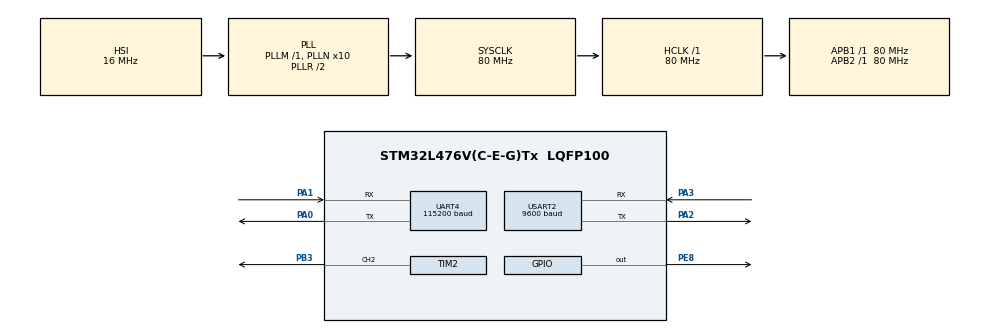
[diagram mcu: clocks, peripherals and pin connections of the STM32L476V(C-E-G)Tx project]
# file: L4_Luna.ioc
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Dma.Request0=TIM2_CH2/CH4
Dma.TIM2_CH2/CH4.0.Direction=DMA_MEMORY_TO_PERIPH
Dma.TIM2_CH2/CH4.0.Instance=DMA1_Channel7
Dma.TIM2_CH2/CH4.0.MemDataAlignment=DMA_MDATAALIGN_WORD
Dma.TIM2_CH2/CH4.0.MemInc=DMA_MINC_ENABLE
Dma.TIM2_CH2/CH4.0.Mode=DMA_NORMAL
Dma.TIM2_CH2/CH4.0.PeriphDataAlignment=DMA_PDATAALIGN_WORD
Dma.TIM2_CH2/CH4.0.PeriphInc=DMA_PINC_DISABLE
Dma.TIM2_CH2/CH4.0.Priority=DMA_PRIORITY_LOW
Mcu.Family=STM32L4
Mcu.Name=STM32L476V(C-E-G)Tx
Mcu.Package=LQFP100
NVIC.DMA1_Channel7_IRQn=true\:0\:0\:false\:false\:true\:false\:true
NVIC.PriorityGroup=NVIC_PRIORITYGROUP_4
NVIC.USART2_IRQn=true\:0\:0\:false\:false\:true\:true\:true
PA0.Mode=Asynchronous
PA0.Signal=UART4_TX
PA1.Mode=Asynchronous
PA1.Signal=UART4_RX
PA2.Mode=Asynchronous
PA2.Signal=USART2_TX
PA3.Mode=Asynchronous
PA3.Signal=USART2_RX
PB3\ (JTDO-TRACESWO).GPIO_Speed=GPIO_SPEED_FREQ_HIGH
PB3\ (JTDO-TRACESWO).Signal=S_TIM2_CH2
PE8.GPIO_Speed=GPIO_SPEED_FREQ_VERY_HIGH
PE8.Signal=GPIO_Output
ProjectManager.HeapSize=0x200
ProjectManager.StackSize=0x400
ProjectManager.TargetToolchain=MDK-ARM V5.27
RCC.ADCFreq_Value=64000000
RCC.AHBFreq_Value=80000000
RCC.APB1Freq_Value=80000000
RCC.APB1TimFreq_Value=80000000
RCC.APB2Freq_Value=80000000
RCC.APB2TimFreq_Value=80000000
RCC.CortexFreq_Value=80000000
RCC.HCLKFreq_Value=80000000
RCC.HSE_VALUE=8000000
RCC.HSI_VALUE=16000000
RCC.LSE_VALUE=32768
RCC.MSIClockRange=RCC_MSIRANGE_8
RCC.MSI_VALUE=16000000
RCC.PLLN=10
RCC.PLLSourceVirtual=RCC_PLLSOURCE_HSI
RCC.SYSCLKFreq_VALUE=80000000
RCC.SYSCLKSource=RCC_SYSCLKSOURCE_PLLCLK
RCC.USBFreq_Value=64000000
RCC.VCOOutputFreq_Value=160000000
SH.S_TIM2_CH2.0=TIM2_CH2,PWM Generation2 CH2
TIM2.AutoReloadPreload=TIM_AUTORELOAD_PRELOAD_ENABLE
TIM2.Channel-PWM\ Generation2\ CH2=TIM_CHANNEL_2
TIM2.Period=99
TIM2.Pulse-PWM\ Generation2\ CH2=2
UART4.BaudRate=115200
USART2.BaudRate=9600
USART2.VirtualMode-Asynchronous=VM_ASYNC
VP_TIM2_VS_ClockSourceINT.Mode=Internal
board=custom

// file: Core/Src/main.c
/* USER CODE BEGIN Header */
/**
  ******************************************************************************
  * @file           : main.c
  * @brief          : Main program body
  ******************************************************************************
  * @attention
  *
  * <h2><center>&copy; Copyright (c) 2021 STMicroelectronics.
  * All rights reserved.</center></h2>
  *
  * This software component is licensed by ST under BSD 3-Clause license,
  * the "License"; You may not use this file except in compliance with the
  * License. You may obtain a copy of the License at:
  *                        opensource.org/licenses/BSD-3-Clause
  *
  ******************************************************************************
  */
/* USER CODE END Header */
#include "main.h"
#include "dma.h"
#include "tim.h"
#include "usart.h"
#include "gpio.h"

/* USER CODE BEGIN Includes */
#include <string.h>
#include <mine.h>
#include "sk6812.h"
/* USER CODE END Includes */

/* USER CODE BEGIN PV */
extern uint32_t BUF_DMA [ARRAY_LEN];
/* USER CODE END PV */

void SystemClock_Config(void);

/* USER CODE BEGIN 0 */
#define TEST_8

uint8_t rate[] = {0x5a, 0x06, 0x03, 0x32, 0x00, 0x00};

int leds(int i, int number){
  if ((i+number)<0){
    return 0;
  }
  else if((i+number)>299){
    return 299;
  }
  return i+number;
}
/* USER CODE END 0 */

int main(void)
{

  /* MCU Configuration--------------------------------------------------------*/

  /* Reset of all peripherals, Initializes the Flash interface and the Systick. */
  HAL_Init();

  /* Configure the system clock */
  SystemClock_Config();

  /* Initialize all configured peripherals */
  MX_GPIO_Init();
  MX_DMA_Init();
  MX_UART4_Init();
  MX_USART2_UART_Init();
  MX_TIM2_Init();
  /* USER CODE BEGIN 2 */

//	HAL_TIM_PWM_Start(&htim2, TIM_CHANNEL_1);

#ifdef TEST_1
	uint8_t data[9];
	newos();
	HAL_UART_Receive_IT(&huart2, data, 9);

#endif

#ifdef TEST_3

	//HAL_UART_Transmit(&huart2, rate, 6, 1000);

	HAL_UART_Transmit(&huart4, "Hi\r\n", 4, 1000);

	uint8_t data[9];
	newos();
	HAL_UART_Receive_IT(&huart2, data, 9);

#endif

#ifdef TEST_5
	uint8_t data[9];
	newos();
	HAL_UART_Receive_IT(&huart2, data, 9);

#endif

  /* USER CODE END 2 */

  /* Infinite loop */
  /* USER CODE BEGIN WHILE */

//	for(int i = 0; i<ARRAY_LEN; i++){
//		BUF_DMA[i] = 0;
//	}

//	fill_buffer(0x01000000, 0,  1);
//	HAL_TIM_PWM_Start_DMA(&htim2, TIM_CHANNEL_2, BUF_DMA, (ARRAY_LEN*2)+130);
//	HAL_Delay(12);
//
//	fill_buffer(0x01000000, 1,  2);
//	HAL_TIM_PWM_Start_DMA(&htim2, TIM_CHANNEL_2, BUF_DMA, (ARRAY_LEN*2)+1);
//	HAL_Delay(12);
//
//	fill_buffer(0x01000000, 2,  3);
//	HAL_TIM_PWM_Start_DMA(&htim2, TIM_CHANNEL_2, BUF_DMA, (ARRAY_LEN*2)+1);
//	HAL_Delay(12);

		#ifdef TEST_6

			fill_buffer(0xFF000000, 0,  5);
			HAL_TIM_PWM_Start_DMA(&htim2, TIM_CHANNEL_2, BUF_DMA, (ARRAY_LEN*2)+130);
		#endif

//	uint32_t i = 0;

  while (1)
  {
//			i+=10;
//			fill_buffer(0x0000FF00, 0,  297);
//			HAL_TIM_PWM_Start_DMA(&htim2, TIM_CHANNEL_2, BUF_DMA, (ARRAY_LEN*2)+130);
//			HAL_Delay(100);
//			if (i >= (0xFFFFFFFF - 0x12C)){
//				i = 0;
//			}

		#ifdef TEST_1
		if(huart2.RxXferCount==0)
		{
//			int j = 0;
//			j = data[0] + data[1] + data[2] + data[3] + data[4] + data[5] + data[6] + data[7];
//			uint8_t k = 0;
//			k = j&0xff;
//
//			int os = 0;

//			os = get_data(data);
//
//			uint8_t left = os>>8;
//			uint8_t right = os & 0xff;

			//HAL_UART_Transmit(&huart4, &right, 1, 1000);
			//HAL_UART_Receive_IT(&huart2, data, 9);

			int j = 0;
			j = data[0] + data[1] + data[2] + data[3] + data[4] + data[5] + data[6] + data[7];
			uint8_t k = 0;
			k = j&0xff;

			int os = 0;

			os = get_data(data);

			uint8_t left = os>>8;
			uint8_t right = os & 0xff;

			//HAL_UART_Transmit(&huart4, &k, 1, 1000);
			HAL_UART_Transmit(&huart4, &right, 1, 1000);
			HAL_UART_Receive_IT(&huart2, data, 9);
			//HAL_UART_Transmit(&huart4, data, 9, 1000);
			//HAL_Delay(1000);
		}
		#endif

		#ifdef TEST_2
		for (int yas = 0; yas < LED_COUNT; yas++ ) {

			fill_buffer(0x01000000, leds(yas, -20),  leds(yas, +20));
			HAL_TIM_PWM_Start_DMA(&htim2, TIM_CHANNEL_2, BUF_DMA, 19329);
			HAL_Delay(12);
		}
		#endif

		#ifdef TEST_4
		for (int yas = 0; yas < LED_COUNT; yas++ ) {

			fill_buffer(0x0F0F0000, leds(yas, -2),  leds(yas, +2));
			//fill_buffer(0x000000FF, 0,  leds(yas, -2));
			//fill_buffer(0x000000FF, leds(yas, +2),  297);
			HAL_TIM_PWM_Start_DMA(&htim2, TIM_CHANNEL_2, BUF_DMA, (ARRAY_LEN*2)+130);
			HAL_Delay(40);
		}
		#endif

		#ifdef TEST_3
		if(huart2.RxXferCount==0)
		{
			int os = 0;

			os = get_data(data);

			uint8_t left = os>>8;
			uint8_t right = os & 0xff;

			HAL_UART_Transmit(&huart4, &right, 1, 1000);
			HAL_UART_Receive_IT(&huart2, data, 9);
		}
		#endif

		#ifdef TEST_5

		if(huart2.RxXferCount==0)
		{
			int os = 0;

			os = get_data(data);

			uint8_t left = os>>8;
			uint8_t right = os & 0xff;

			float temp = get_position(os/100.0);
			int to_fill = (int) temp;

			HAL_UART_Transmit(&huart4, &right, 1, 1000);
			HAL_UART_Receive_IT(&huart2, data, 9);

			fill_buffer(0xFF000000, leds(to_fill, -1),  leds(to_fill, +1));
			HAL_TIM_PWM_Start_DMA(&htim2, TIM_CHANNEL_2, BUF_DMA, (ARRAY_LEN*2)+130);
		}

		#endif

		#ifdef TEST_7
			for(int i = DELAY_LEN; i<ARRAY_LEN-DELAY_LEN; i++){
				BUF_DMA[i] = LOW;
			}
			fill_led(0xFF000000, 30);
			fill_buff_leds(0x00FF0000, 5, 15);

			fill_with_background(0xFF000000, 6, 8, 0x00FF0000);

			HAL_TIM_PWM_Start_DMA(&htim2, TIM_CHANNEL_2, BUF_DMA, (ARRAY_LEN*2)+130);
			HAL_Delay(40);
		#endif

		#ifdef TEST_8
		for (int yas = 0; yas < LED_COUNT; yas++ ) {
			clear_buffer();
			fill_with_background(0x0000FF00, leds(yas, -2),  leds(yas, +2), 0x000000FF);
			//fill_buffer(0x0F0F0000, leds(yas, -2),  leds(yas, +2));
			HAL_TIM_PWM_Start_DMA(&htim2, TIM_CHANNEL_2, BUF_DMA, (ARRAY_LEN*2)+130);
			HAL_Delay(40);
		}
		#endif

    /* USER CODE END WHILE */

  }
}

void SystemClock_Config(void)
{
  RCC_OscInitTypeDef RCC_OscInitStruct = {0};
  RCC_ClkInitTypeDef RCC_ClkInitStruct = {0};
  RCC_PeriphCLKInitTypeDef PeriphClkInit = {0};

  /** Initializes the RCC Oscillators according to the specified parameters
  * in the RCC_OscInitTypeDef structure.
  */
  RCC_OscInitStruct.OscillatorType = RCC_OSCILLATORTYPE_HSI;
  RCC_OscInitStruct.HSIState = RCC_HSI_ON;
  RCC_OscInitStruct.HSICalibrationValue = RCC_HSICALIBRATION_DEFAULT;
  RCC_OscInitStruct.PLL.PLLState = RCC_PLL_ON;
  RCC_OscInitStruct.PLL.PLLSource = RCC_PLLSOURCE_HSI;
  RCC_OscInitStruct.PLL.PLLM = 1;
  RCC_OscInitStruct.PLL.PLLN = 10;
  RCC_OscInitStruct.PLL.PLLP = RCC_PLLP_DIV7;
  RCC_OscInitStruct.PLL.PLLQ = RCC_PLLQ_DIV2;
  RCC_OscInitStruct.PLL.PLLR = RCC_PLLR_DIV2;
  if (HAL_RCC_OscConfig(&RCC_OscInitStruct) != HAL_OK)
  {
    Error_Handler();
  }
  /** Initializes the CPU, AHB and APB buses clocks
  */
  RCC_ClkInitStruct.ClockType = RCC_CLOCKTYPE_HCLK|RCC_CLOCKTYPE_SYSCLK
                              |RCC_CLOCKTYPE_PCLK1|RCC_CLOCKTYPE_PCLK2;
  RCC_ClkInitStruct.SYSCLKSource = RCC_SYSCLKSOURCE_PLLCLK;
  RCC_ClkInitStruct.AHBCLKDivider = RCC_SYSCLK_DIV1;
  RCC_ClkInitStruct.APB1CLKDivider = RCC_HCLK_DIV1;
  RCC_ClkInitStruct.APB2CLKDivider = RCC_HCLK_DIV1;

  if (HAL_RCC_ClockConfig(&RCC_ClkInitStruct, FLASH_LATENCY_4) != HAL_OK)
  {
    Error_Handler();
  }
  PeriphClkInit.PeriphClockSelection = RCC_PERIPHCLK_USART2|RCC_PERIPHCLK_UART4;
  PeriphClkInit.Usart2ClockSelection = RCC_USART2CLKSOURCE_PCLK1;
  PeriphClkInit.Uart4ClockSelection = RCC_UART4CLKSOURCE_PCLK1;
  if (HAL_RCCEx_PeriphCLKConfig(&PeriphClkInit) != HAL_OK)
  {
    Error_Handler();
  }
  /** Configure the main internal regulator output voltage
  */
  if (HAL_PWREx_ControlVoltageScaling(PWR_REGULATOR_VOLTAGE_SCALE1) != HAL_OK)
  {
    Error_Handler();
  }
}

void Error_Handler(void)
{
  __disable_irq();
  while (1)
  {
  }
}

/************************ (C) COPYRIGHT STMicroelectronics *****END OF FILE****/
